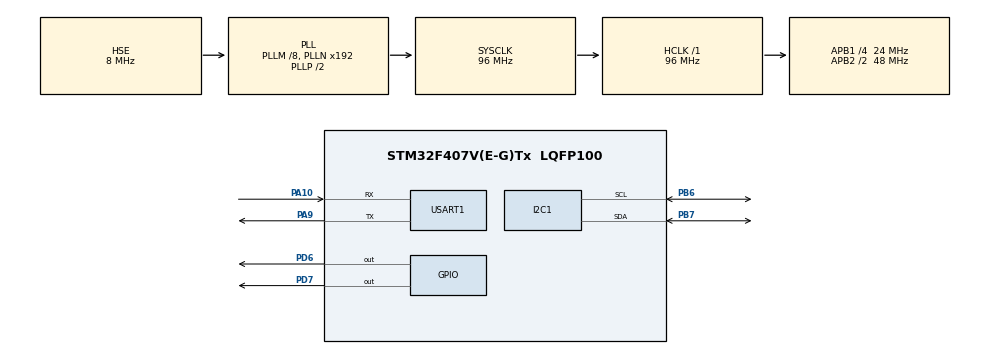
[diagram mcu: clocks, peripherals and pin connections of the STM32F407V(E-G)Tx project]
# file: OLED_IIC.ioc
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Mcu.Family=STM32F4
Mcu.Name=STM32F407V(E-G)Tx
Mcu.Package=LQFP100
NVIC.PriorityGroup=NVIC_PRIORITYGROUP_4
PA10.Mode=Asynchronous
PA10.Signal=USART1_RX
PA13.Mode=Serial_Wire
PA13.Signal=SYS_JTMS-SWDIO
PA14.Mode=Serial_Wire
PA14.Signal=SYS_JTCK-SWCLK
PA9.Mode=Asynchronous
PA9.Signal=USART1_TX
PB6.Mode=I2C
PB6.Signal=I2C1_SCL
PB7.Mode=I2C
PB7.Signal=I2C1_SDA
PD6.Signal=GPIO_Output
PD7.Signal=GPIO_Output
PH0-OSC_IN.Mode=HSE-External-Oscillator
PH0-OSC_IN.Signal=RCC_OSC_IN
PH1-OSC_OUT.Mode=HSE-External-Oscillator
PH1-OSC_OUT.Signal=RCC_OSC_OUT
ProjectManager.HeapSize=0x200
ProjectManager.StackSize=0x400
ProjectManager.TargetToolchain=MDK-ARM V5
RCC.48MHZClocksFreq_Value=48000000
RCC.AHBFreq_Value=96000000
RCC.APB1CLKDivider=RCC_HCLK_DIV4
RCC.APB1Freq_Value=24000000
RCC.APB1TimFreq_Value=48000000
RCC.APB2CLKDivider=RCC_HCLK_DIV2
RCC.APB2Freq_Value=48000000
RCC.APB2TimFreq_Value=96000000
RCC.CortexFreq_Value=96000000
RCC.HCLKFreq_Value=96000000
RCC.HSE_VALUE=8000000
RCC.HSI_VALUE=16000000
RCC.LSE_VALUE=32768
RCC.PLLM=8
RCC.PLLSourceVirtual=RCC_PLLSOURCE_HSE
RCC.SYSCLKFreq_VALUE=96000000
RCC.SYSCLKSource=RCC_SYSCLKSOURCE_PLLCLK
RCC.VCOOutputFreq_Value=192000000
USART1.VirtualMode=VM_ASYNC
board=custom

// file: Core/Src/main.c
/* USER CODE BEGIN Header */
/**
  ******************************************************************************
  * @file           : main.c
  * @brief          : Main program body
  ******************************************************************************
  * @attention
  *
  * Copyright (c) 2022 STMicroelectronics.
  * All rights reserved.
  *
  * This software is licensed under terms that can be found in the LICENSE file
  * in the root directory of this software component.
  * If no LICENSE file comes with this software, it is provided AS-IS.
  *
  ******************************************************************************
  */
/* USER CODE END Header */
#include "main.h"
#include "i2c.h"
#include "usart.h"
#include "gpio.h"
#include "oled.h"

/* USER CODE BEGIN Includes */
#include "stdio.h"
#define ReadAddr   0xA1
#define WriteAddr  0xA0

/* USER CODE END Includes */

void SystemClock_Config(void);

/* USER CODE BEGIN 0 */
 int fputc(int ch, FILE *p)
{
	while(!(USART1->SR & (1<<7)));

	USART1->DR = ch;

	return ch;
}
uint8_t Wbuf[20] = "EEPROM TEST OK!";
uint8_t Rbuf[20] = {0};
/*********  24C65 写数据函数*****************************/

void  Eeprom_Write(uint16_t MemAddr, uint8_t *Wbuf, uint16_t len )
{
	 while(len--)
	 {
			while(HAL_I2C_Mem_Write(&hi2c1, WriteAddr, MemAddr, I2C_MEMADD_SIZE_16BIT, Wbuf, 1, 100) != HAL_OK){};
		  MemAddr++;
		  Wbuf++;
	 }
}

/*********  24C65 读数据函数*****************************/

void  Eeprom_Read(uint16_t MemAddr, uint8_t *Rbuf, uint16_t len )
{
	 while(HAL_I2C_Mem_Read(&hi2c1, ReadAddr, MemAddr, I2C_MEMADD_SIZE_16BIT, Rbuf  , len, 100) != HAL_OK );
}

/* USER CODE END 0 */

int main(void)
{

  /* MCU Configuration--------------------------------------------------------*/

  /* Reset of all peripherals, Initializes the Flash interface and the Systick. */
  HAL_Init();

  /* Configure the system clock */
  SystemClock_Config();

  /* Initialize all configured peripherals */
  MX_GPIO_Init();
  MX_USART1_UART_Init();
  MX_I2C1_Init();
  /* USER CODE BEGIN 2 */
//printf("this is i2c eeprom test\n");
  HAL_Delay(500);
  OLED_Display_On();
  uint8_t A[]="hellow world !!!!";
  uint8_t B[]="hellow world !!";
  OLED_Init();
  HAL_Delay(500);
  OLED_Display_On();
  OLED_Clear();

  /*OLED_ShowString(0,0,A,sizeof(A));
	OLED_ShowString(0,4,A,sizeof(B));*/
  OLED_ShowCHinese(0,2,0);
  OLED_ShowCHinese(16,2,1);
  OLED_ver_scroll();

  /* USER CODE END 2 */

  /* Infinite loop */
  while (1)
  {

  }
}

void SystemClock_Config(void)
{
  RCC_OscInitTypeDef RCC_OscInitStruct = {0};
  RCC_ClkInitTypeDef RCC_ClkInitStruct = {0};

  /** Configure the main internal regulator output voltage
  */
  __HAL_RCC_PWR_CLK_ENABLE();
  __HAL_PWR_VOLTAGESCALING_CONFIG(PWR_REGULATOR_VOLTAGE_SCALE1);

  /** Initializes the RCC Oscillators according to the specified parameters
  * in the RCC_OscInitTypeDef structure.
  */
  RCC_OscInitStruct.OscillatorType = RCC_OSCILLATORTYPE_HSE;
  RCC_OscInitStruct.HSEState = RCC_HSE_ON;
  RCC_OscInitStruct.PLL.PLLState = RCC_PLL_ON;
  RCC_OscInitStruct.PLL.PLLSource = RCC_PLLSOURCE_HSE;
  RCC_OscInitStruct.PLL.PLLM = 8;
  RCC_OscInitStruct.PLL.PLLN = 192;
  RCC_OscInitStruct.PLL.PLLP = RCC_PLLP_DIV2;
  RCC_OscInitStruct.PLL.PLLQ = 4;
  if (HAL_RCC_OscConfig(&RCC_OscInitStruct) != HAL_OK)
  {
    Error_Handler();
  }

  /** Initializes the CPU, AHB and APB buses clocks
  */
  RCC_ClkInitStruct.ClockType = RCC_CLOCKTYPE_HCLK|RCC_CLOCKTYPE_SYSCLK
                              |RCC_CLOCKTYPE_PCLK1|RCC_CLOCKTYPE_PCLK2;
  RCC_ClkInitStruct.SYSCLKSource = RCC_SYSCLKSOURCE_PLLCLK;
  RCC_ClkInitStruct.AHBCLKDivider = RCC_SYSCLK_DIV1;
  RCC_ClkInitStruct.APB1CLKDivider = RCC_HCLK_DIV4;
  RCC_ClkInitStruct.APB2CLKDivider = RCC_HCLK_DIV2;

  if (HAL_RCC_ClockConfig(&RCC_ClkInitStruct, FLASH_LATENCY_3) != HAL_OK)
  {
    Error_Handler();
  }
}

void Error_Handler(void)
{
  __disable_irq();
  while (1)
  {
  }
}
